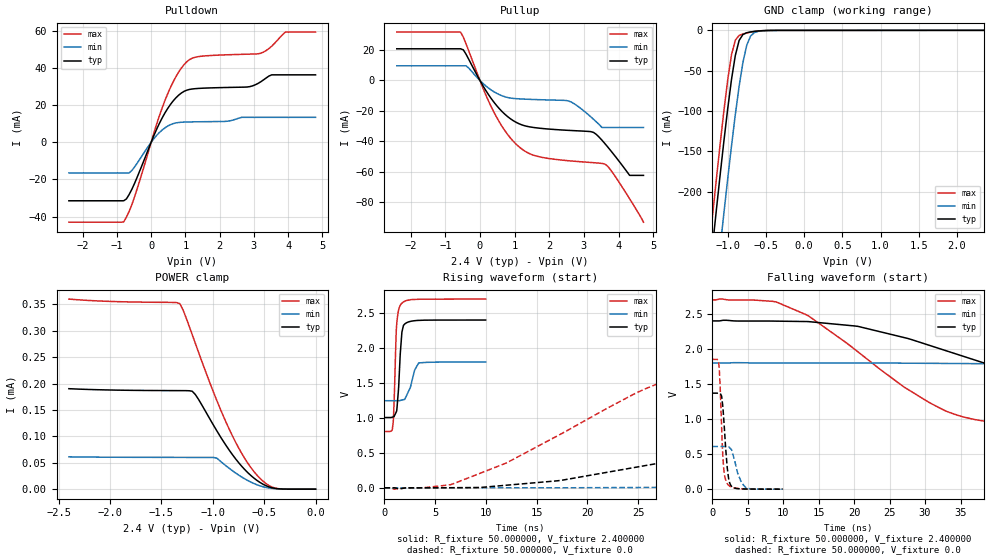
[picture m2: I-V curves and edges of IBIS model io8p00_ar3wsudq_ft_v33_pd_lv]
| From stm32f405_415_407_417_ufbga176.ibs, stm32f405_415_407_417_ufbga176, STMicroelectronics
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|   Model io8p00_ar3wsudq_ft_v33_pd_lv
[Model]  io8p00_ar3wsudq_ft_v33_pd_lv
Model_type I/O
Polarity   Non-Inverting
Enable   Active-Low
Vinl =   0.720000V
Vinh =   1.680000V
Vmeas =  1.200000V
Cref =   50.000000pF
Rref =   100.000000M
Vref =   0.0V
C_comp   3.737300pF   3.690400pF   3.817400pF
[Temperature Range]   25.000000   0.125000k   -40.000000
[Pullup Reference]   2.400000V   1.800000V   2.700000V
[Pulldown Reference]   0.0V   0.0V   0.0V
[POWER Clamp Reference]   2.400000V   1.800000V   2.700000V
[GND Clamp Reference]   0.0V   0.0V   0.0V
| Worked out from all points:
|   slope of the pulldown table from 0 to 0.36 V, typ, clamps not added: 25 ohm
|   slope of the pullup table from 0 to 0.36 V, typ, clamps not added: 27.7 ohm
|   GND clamp passes 1 mA (typ) near -0.62 V on its own axis
|   rising waveform, R_fixture 50.000000, V_fixture 2.400000: 20-80 % time 349ps typ, 697ps min, 262ps max; typ from 1 V to 2.4 V
|   rising waveform, R_fixture 50.000000, V_fixture 0.0: 20-80 % time 30.9ns typ, 81.8ns min, 14.6ns max; typ from 0 V to 1.37 V
|   falling waveform, R_fixture 50.000000, V_fixture 2.400000: 20-80 % time 28.8ns typ, 81.1ns min, 15.9ns max; typ from 2.4 V to 1 V
|   falling waveform, R_fixture 50.000000, V_fixture 0.0: 20-80 % time 598ps typ, 1.08ns min, 460ps max; typ from 1.37 V to 0 V
[Pulldown]
|Voltage   I(typ)   I(min)   I(max)
-2.4V     -31.47mA   -16.45mA   -43.01mA
-800mV    -31.47mA   -16.45mA   -42.85mA
-480mV    -21.98mA   -13.17mA   -29.2mA
80mV      3.63mA     1.966mA    5.014mA
480mV     18.15mA    8.738mA    26.02mA
800mV     25.38mA    10.72mA    37.77mA
1.12V     28.53mA    11.02mA    44.6mA
2.8V      29.84mA    13.49mA    47.53mA
3.2V      32.65mA    13.49mA    48.04mA
3.52V     36.4mA     13.49mA    51.82mA
3.92V     36.4mA     13.49mA    59.44mA
4.8V      36.4mA     13.49mA    59.44mA
[Pullup]
|Voltage   I(typ)   I(min)   I(max)
-2.4V     20.88mA    9.66mA     31.89mA
-560mV    20.88mA    9.66mA     31.89mA
-400mV    17.28mA    9.66mA     24.06mA
320mV     -11.75mA   -6.207mA   -17.08mA
640mV     -20.52mA   -10.1mA    -30.35mA
960mV     -26.47mA   -11.82mA   -40.02mA
1.52V     -30.88mA   -12.51mA   -49.05mA
2.56V     -32.88mA   -13.52mA   -52.9mA
3.28V     -34.25mA   -25.62mA   -54.18mA
3.6V      -41.44mA   -30.97mA   -55.03mA
4.32V     -62.55mA   -30.97mA   -77.98mA
4.72V     -62.55mA   -30.97mA   -93.4mA
[GND_clamp]
|Voltage   I(typ)   I(min)   I(max)
-2.4V     -1.437A    -1.518A    -1.411A
-1.25V    -315.9mA   -407.2mA   -278.2mA
-1.2V     -270.1mA   -361.3mA   -232.1mA
-1.15V    -225mA     -316mA     -186.8mA
-1.1V     -180.9mA   -271.3mA   -142.7mA
-1.05V    -138.2mA   -227.5mA   -100.5mA
-950mV    -61.14mA   -143.6mA   -30.44mA
-900mV    -31.24mA   -104.7mA   -12.15mA
-850mV    -12.5mA    -69.41mA   -6.236mA
-750mV    -2.91mA    -18.35mA   -3.195mA
-600mV    -761.5uA   -1.227mA   -751.9uA
2.35V     58.09uA    37.93uA    67.25uA
[POWER_clamp]
|Voltage   I(typ)   I(min)   I(max)
-2.4V     190.2uA    61.19uA    359.9uA
-1.32V    186.6uA    60.14uA    351.2uA
-1.29V    186.5uA    60.13uA    339.6uA
-1.2V     185.4uA    60.11uA    292.6uA
-1.17V    179.2uA    60.11uA    276.3uA
-960mV    110.2uA    58.62uA    167.5uA
-870mV    82.44uA    43.99uA    126.3uA
-750mV    50.58uA    26.92uA    78.64uA
-630mV    25.94uA    13.41uA    41.02uA
-510mV    9.22uA     4.527uA    14.97uA
-420mV    2.425uA    1.38uA     3.75uA
0V        0A         0A         0A
[Ramp]
| variable   typ   min   max
dV/dt_r  0.82164/30.91891n   0.36271/83.80163n   1.11042/14.59118n
dV/dt_f  0.83676/28.74717n   0.32712/81.50714n   1.13681/15.90763n
R_load = 50.000000
[Rising Waveform]
R_fixture= 50.000000
V_fixture= 2.400000
V_fixture_min= 1.800000
V_fixture_max= 2.700000
|time   V(typ)   V(min)   V(max)
0s        1.005V     1.245V     804.1mV
780.8ps   1.01V      1.245V     840.3mV
880.9ps   1.014V     1.245V     966.4mV
1.181ns   1.089V     1.245V     2.284V
1.381ns   1.4V       1.245V     2.531V
1.642ns   2.075V     1.252V     2.629V
1.722ns   2.227V     1.255V     2.641V
1.882ns   2.323V     1.261V     2.659V
3.383ns   2.394V     1.786V     2.696V
9.97ns    2.399V     1.799V     2.699V
[Rising Waveform]
R_fixture= 50.000000
V_fixture= 0.0
V_fixture_min= 0.0
V_fixture_max= 0.0
|time   V(typ)   V(min)   V(max)
0s        9.761nV    346.6nV    28.47nV
7.007ns   1.54mV     -64.27uV   70.11mV
17.02ns   99.44mV    83.53uV    740.5mV
28.03ns   376.7mV    6.55mV     1.543V
34.53ns   556.3mV    13.9mV     1.715V
42.04ns   772.7mV    39.34mV    1.788V
59.56ns   1.171V     98.7mV     1.837V
79.08ns   1.312V     190.1mV    1.847V
153.2ns   1.367V     509.6mV    1.851V
249.2ns   1.369V     608.5mV    1.851V
[Falling Waveform]
R_fixture= 50.000000
V_fixture= 2.400000
V_fixture_min= 1.800000
V_fixture_max= 2.700000
|time   V(typ)   V(min)   V(max)
0s        2.399V     1.799V     2.699V
9.009ns   2.396V     1.798V     2.669V
13.51ns   2.389V     1.798V     2.474V
20.52ns   2.322V     1.798V     1.959V
32.53ns   1.988V     1.793V     1.134V
44.54ns   1.595V     1.771V     904.7mV
58.06ns   1.268V     1.726V     851.9mV
82.58ns   1.086V     1.593V     820.1mV
156.2ns   1.012V     1.324V     804.6mV
249.2ns   1.005V     1.245V     804.1mV
[Falling Waveform]
R_fixture= 50.000000
V_fixture= 0.0
V_fixture_min= 0.0
V_fixture_max= 0.0
|time   V(typ)   V(min)   V(max)
0s        1.369V     608.5mV    1.851V
900.9ps   1.37V      608.3mV    1.796V
1.101ns   1.366V     608.2mV    1.449V
1.502ns   1.15V      607.9mV    430mV
1.702ns   857.3mV    608.1mV    212.3mV
2.062ns   350.1mV    607.9mV    85.53mV
2.683ns   43.62mV    566.1mV    31.54mV
3.584ns   7.834mV    224.6mV    10.48mV
4.785ns   2.189mV    14.68mV    3.209mV
9.97ns    9.761nV    346.6nV    28.47nV
